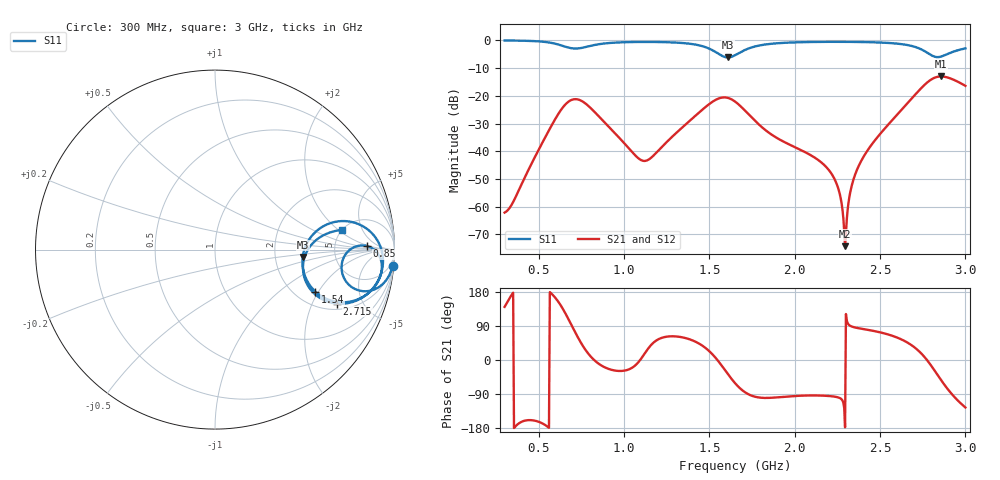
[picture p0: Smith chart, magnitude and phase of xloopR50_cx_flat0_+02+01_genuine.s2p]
! xloopR50_cx_flat0_+02+01_genuine, gap C 0.80 pF
! simulated by sim/fixtures_fdtd.py (S12 = S21, S22 not computed)
# HZ S RI R 50
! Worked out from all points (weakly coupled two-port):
!   541 points, 300 MHz to 3 GHz, reference 50 ohm
!   highest |S21| = -13.03 dB at 2.855 GHz (marker M1); lowest = -74.2 dB at 2.295 GHz (marker M2)
!   lowest |S11| = -6.2 dB at 1.61 GHz (marker M3), VSWR 2.93, Z = 144 - j15.3 ohm
!   |S11| at or under -10 dB: nowhere
!   |S22| runs from - to - dB; largest |S21 - S12| = 0
!   S11 on the Smith chart (normalised r, x): 300 MHz: 1, -21; 850 MHz: 12, +2; 1.54 GHz: 2.54, -1.88; 2.715 GHz: 2.31, -3.11; 3 GHz: 4.97, +2.24
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3e8  0.9896 -0.0922  -0.000604 0.000501  -0.000604 0.000501  0 0
6.25e8  0.79 -0.2238  -0.0441 0.0288  -0.0441 0.0288  0 0
6.9e8  0.7094 -0.1329  -0.00562 0.0835  -0.00562 0.0835  0 0
7.5e8  0.7279 -0.0256  0.0589 0.0558  0.0589 0.0558  0 0
8.5e8  0.8481 0.0193  0.0427 -0.00711  0.0427 -0.00711  0 0
1.095e9  0.9296 -0.0983  0.00706 5.95e-05  0.00706 5.95e-05  0 0
1.2e9  0.9192 -0.1526  0.00593 0.0083  0.00593 0.0083  0 0
1.395e9  0.8167 -0.2677  0.0228 0.0301  0.0228 0.0301  0 0
1.54e9  0.5592 -0.2338  0.0853 0.00552  0.0853 0.00552  0 0
1.61e9  0.489 -0.0403  0.0718 -0.0564  0.0718 -0.0564  0 0
1.65e9  0.5343 0.0701  0.0382 -0.0689  0.0382 -0.0689  0 0
1.835e9  0.8377 0.1217  -0.00407 -0.0228  -0.00407 -0.0228  0 0
2.1e9  0.9324 -0.0222  -0.000512 -0.00826  -0.000512 -0.00826  0 0
2.24e9  0.9352 -0.0839  -0.000356 -0.00282  -0.000356 -0.00282  0 0
2.27e9  0.9336 -0.0969  -0.00029 -0.00136  -0.00029 -0.00136  0 0
2.295e9  0.9318 -0.1077  -0.000195 -7.8e-06  -0.000195 -7.8e-06  0 0
2.325e9  0.9288 -0.1209  -7.2e-06 0.00181  -7.2e-06 0.00181  0 0
2.365e9  0.9235 -0.1388  0.000432 0.00463  0.000432 0.00463  0 0
2.55e9  0.8654 -0.2318  0.012 0.0283  0.012 0.0283  0 0
2.715e9  0.6792 -0.3012  0.0991 0.0538  0.0991 0.0538  0 0
2.855e9  0.5062 -0.0226  0.1392 -0.1743  0.1392 -0.1743  0 0
3e9  0.7064 0.1101  -0.0875 -0.1232  -0.0875 -0.1232  0 0
